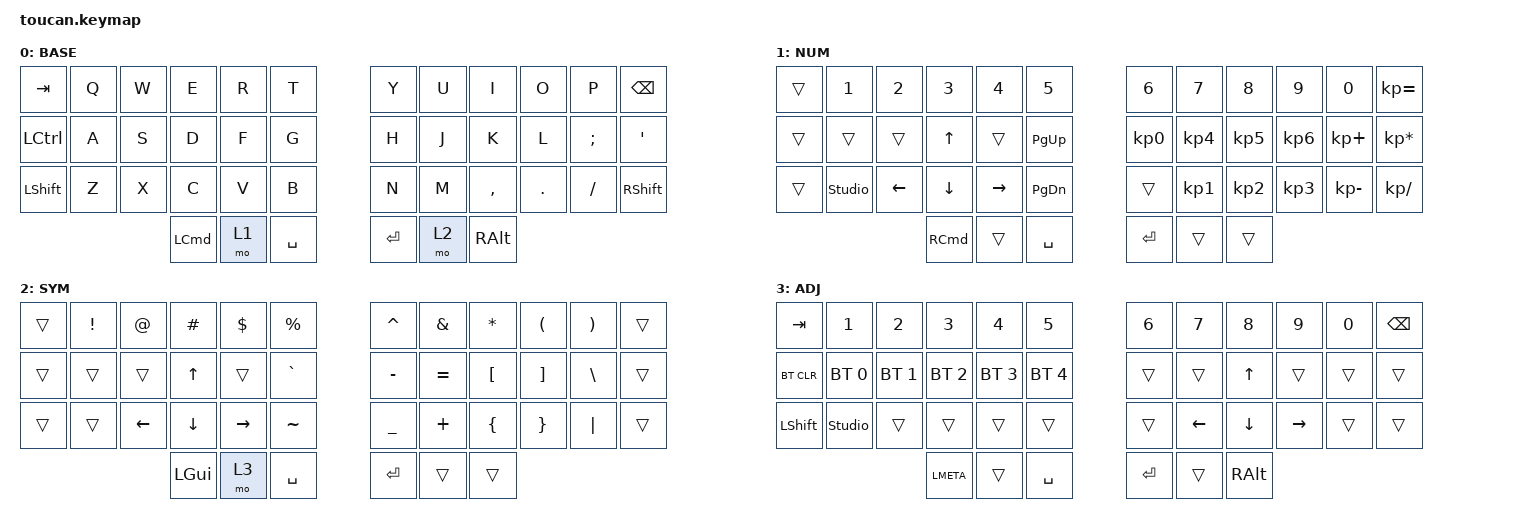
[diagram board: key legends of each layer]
#include <behaviors.dtsi>
#include <dt-bindings/zmk/keys.h>
#include <dt-bindings/zmk/bt.h>
#include <dt-bindings/zmk/outputs.h>

#define BASE 0
#define NUM  1
#define SYM  2
#define ADJ  3

/ {
    conditional_layers {
        compatible = "zmk,conditional-layers";
        tri_layer {
            if-layers = <1 2>;
            then-layer = <3>;
        };
    };

    behaviors {
        hm: homerow_mods {
            compatible = "zmk,behavior-hold-tap";
            #binding-cells = <2>;
            tapping-term-ms = <200>;
            flavor = "tap-preferred";
            bindings = <&kp>, <&kp>;

            quick-tap-ms = <180>;
            require-prior-idle-ms = <120>; /* tune to taste */
        };

        para: para {
            compatible = "zmk,behavior-tap-dance";
            #binding-cells = <0>;
            bindings = <&kp LEFT_PARENTHESIS>, <&kp RIGHT_PARENTHESIS>;
        };

        caps: caps {
            compatible = "zmk,behavior-caps-word";
            #binding-cells = <0>;
            continue-list = <MINUS BACKSPACE>;
        };

        paraless: paraless {
            compatible = "zmk,behavior-mod-morph";
            bindings = <&kp LEFT_PARENTHESIS>, <&kp LESS_THAN>;

            #binding-cells = <0>;
            mods = <(MOD_LSFT)>;
        };

        paragreat: paragreat {
            compatible = "zmk,behavior-mod-morph";
            bindings = <&kp RIGHT_PARENTHESIS>, <&kp GREATER_THAN>;

            #binding-cells = <0>;
            mods = <(MOD_LSFT)>;
        };
    };

    macros {
        browsertab: browsertab {
            compatible = "zmk,behavior-macro";
            #binding-cells = <0>;
            bindings =
                <&macro_press>,
                <&kp LCTRL>,
                <&macro_tap>,
                <&kp TAB>,
                <&macro_release>,
                <&kp LCTRL>;
        };

    };
        combos {
        compatible = "zmk,combos";

        escape {
            bindings = <&kp ESCAPE>;
            key-positions = <1 29>;
        };

        delete {
            bindings = <&kp DELETE>;
            key-positions = <15 21>;
        };

        equal {
            bindings = <&kp EQUAL>;
            key-positions = <1 3>;
            layers = <0>;
        };

        backslash {
            bindings = <&kp BACKSLASH>;
            key-positions = <26 14>;
            layers = <0>;
        };

        slash {
            bindings = <&kp SLASH>;
            key-positions = <32 20>;
            layers = <0>;
        };

        underscore {
            bindings = <&kp UNDER>;
            key-positions = <30 18>;
            layers = <0>;
        };

        leftbrack {
            bindings = <&kp LEFT_BRACKET>;
            key-positions = <31 32>;
            layers = <0>;
        };

        rightbrack {
            bindings = <&kp RIGHT_BRACKET>;
            key-positions = <33 32>;
            layers = <0>;
        };

        para-less {
            bindings = <&paraless>;
            key-positions = <20 19>;
            layers = <0>;
        };

        para-great {
            bindings = <&paragreat>;
            key-positions = <20 21>;
            layers = <0>;
        };
    };

    keymap {
        compatible = "zmk,keymap";

        base {
            display-name = "BASE";
            bindings = <
                &kp TAB   &kp Q &kp W &kp E &kp R &kp T   &kp Y &kp U  &kp I     &kp O   &kp P    &kp BSPC
                &kp LCTRL &kp A &kp S &kp D &kp F &kp G   &kp H &kp J  &kp K     &kp L   &kp SEMI &kp SQT
                &kp LSHFT &kp Z &kp X &kp C &kp V &kp B   &kp N &kp M  &kp COMMA &kp DOT &kp FSLH &kp RSHFT
                                &kp LCMD &mo 1 &kp SPACE   &kp RET &mo 2 &kp RALT
            >;
        };

        num {
            display-name = "NUM";
            bindings = <
                &trans &kp N1         &kp N2   &kp N3   &kp N4    &kp N5         &kp N6       &kp N7     &kp N8     &kp N9     &kp N0       &kp KP_EQUAL
                &trans &trans         &trans   &kp UP   &trans    &kp PAGE_UP    &kp KP_N0    &kp KP_N4  &kp KP_N5  &kp KP_N6  &kp KP_PLUS  &kp KP_MULTIPLY
                &trans &studio_unlock &kp LEFT &kp DOWN &kp RIGHT &kp PAGE_DOWN  &trans       &kp KP_N1  &kp KP_N2  &kp KP_N3  &kp KP_MINUS &kp KP_DIVIDE
                                               &kp RCMD &trans    &kp SPACE      &kp RET  &trans   &trans
            >;
        };


        sym {
            display-name = "SYM";
            bindings = <
                &trans  &kp EXCL  &kp AT          &kp HASH        &kp DLLR         &kp PRCNT    &kp CARET  &kp AMPS   &kp ASTRK  &kp LEFT_PARENTHESIS  &kp RPAR  &trans
                &trans  &trans    &trans          &kp UP_ARROW    &trans           &kp GRAVE    &kp MINUS  &kp EQUAL  &kp LBKT   &kp RBKT              &kp BSLH  &trans
                &trans  &trans    &kp LEFT_ARROW  &kp DOWN_ARROW  &kp RIGHT_ARROW  &kp TILDE    &kp UNDER  &kp PLUS   &kp LBRC   &kp RBRC              &kp PIPE  &trans
                                                  &kp LGUI        &mo 3            &kp SPACE    &kp RET    &trans     &trans
            >;
        };

        adj {
            display-name = "ADJ";
            bindings = <
                &kp TAB     &kp N1          &kp N2       &kp N3       &kp N4       &kp N5         &kp N6  &kp N7    &kp N8    &kp N9     &kp N0 &kp BSPC
                &bt BT_CLR  &bt BT_SEL 0    &bt BT_SEL 1 &bt BT_SEL 2 &bt BT_SEL 3 &bt BT_SEL 4   &trans  &trans    &kp UP    &trans     &trans &trans
                &kp LSHFT   &studio_unlock  &trans       &trans       &trans       &trans         &trans  &kp LEFT  &kp DOWN  &kp RIGHT  &trans &trans
                                                &kp LMETA     &trans       &kp SPACE      &kp RET  &trans   &kp RALT
            >;
        };
        extra_1 {
                status = "reserved";
        };

        extra_2 {
                status = "reserved";
        };

        extra_3 {
                status = "reserved";
        };
    };
};
